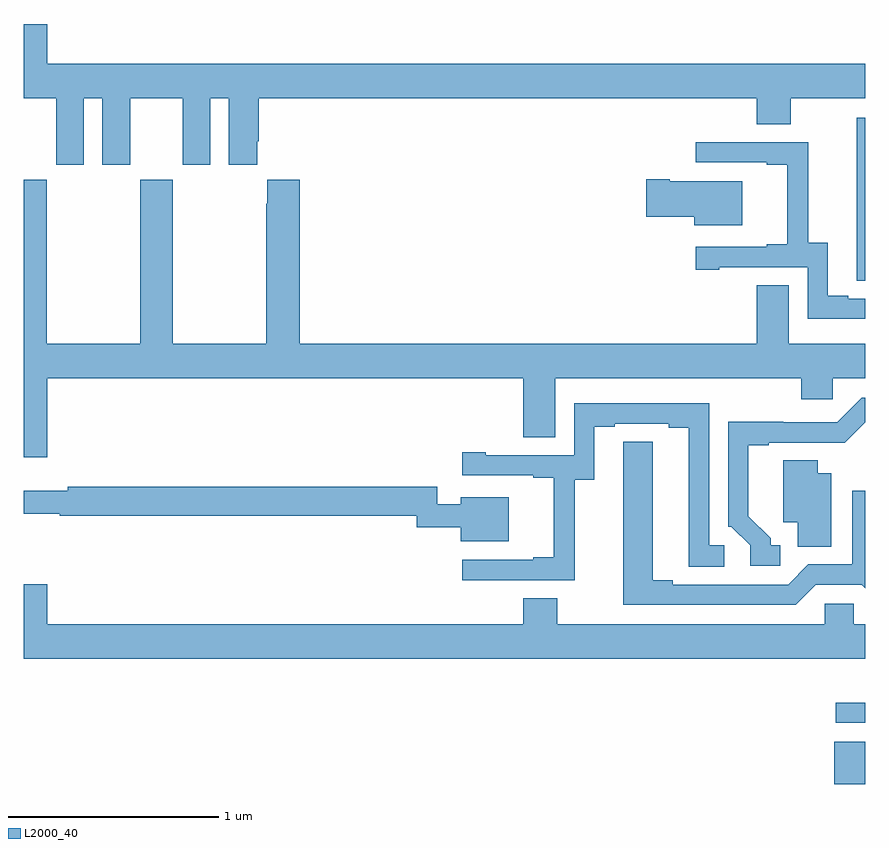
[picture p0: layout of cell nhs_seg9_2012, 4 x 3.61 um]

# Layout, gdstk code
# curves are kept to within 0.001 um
import gdstk
lib = gdstk.Library(unit=1e-6, precision=1e-09)
def R(c, l, rs):  # rectangles x0, y0, x1, y1
    for r in rs: c.add(gdstk.rectangle(r[:2], r[2:], *l))
def P(c, l, *ps):  # polygons
    for p in ps: c.add(gdstk.Polygon(p, *l))
L2000_40 = (2000, 40)

nhs_seg9_2012 = lib.new_cell('nhs_seg9_2012')
R(nhs_seg9_2012, L2000_40, [(228.854,1186.5,229,1186.702), (228.861,1186.791,229,1186.887)])
P(nhs_seg9_2012, L2000_40, [(225.286,1189.76),(225.374,1189.76),(225.374,1189.443),(225.505,1189.443),(225.505,1189.76),(225.755,1189.76),(225.755,1189.443),(225.886,1189.443),(225.886,1189.76),(225.974,1189.76),(225.974,1189.443),(226.111,1189.443),(226.111,1189.555),(226.118,1189.555),(226.118,1189.76),(228.485,1189.76),(228.485,1189.636),(228.645,1189.636),(228.645,1189.76),(229,1189.76),(229,1189.924),(225.112,1189.924),(225.112,1190.113),(225,1190.113),(225,1189.76),(225.155,1189.76),(225.155,1189.443),(225.286,1189.443)],
  [(229,1189.668),(228.959,1189.668),(228.959,1189),(228.96,1189),(228.96,1188.892),(229,1188.892)],
  [(229,1188.807),(228.919,1188.807),(228.919,1188.822),(228.823,1188.822),(228.823,1189.073),(228.729,1189.073),(228.729,1189.551),(228.195,1189.551),(228.195,1189.455),(228.533,1189.455),(228.533,1189.443),(228.629,1189.443),(228.629,1189.066),(228.533,1189.066),(228.533,1189.053),(228.195,1189.053),(228.195,1188.945),(228.307,1188.945),(228.307,1188.957),(228.726,1188.957),(228.726,1188.711),(229,1188.711)],
  [(228.415,1189.366),(228.07,1189.366),(228.07,1189.374),(227.958,1189.374),(227.958,1189.196),(228.188,1189.196),(228.188,1189.157),(228.415,1189.157)],
  [(225.112,1188.428),(227.375,1188.428),(227.375,1188.148),(227.527,1188.148),(227.527,1188.428),(228.695,1188.428),(228.695,1188.33),(228.846,1188.33),(228.846,1188.428),(229,1188.428),(229,1188.592),(228.637,1188.592),(228.637,1188.872),(228.485,1188.872),(228.485,1188.592),(226.313,1188.592),(226.313,1189.372),(226.157,1189.372),(226.157,1189.259),(226.153,1189.259),(226.153,1188.592),(225.708,1188.592),(225.708,1189.372),(225.553,1189.372),(225.553,1188.592),(225.108,1188.592),(225.108,1189.372),(225,1189.372),(225,1188.054),(225.112,1188.054)],
  [(228.595,1187.634),(228.55,1187.634),(228.55,1187.669),(228.445,1187.774),(228.445,1188.111),(228.541,1188.111),(228.541,1188.123),(228.902,1188.122),(229,1188.22),(229,1188.336),(228.984,1188.336),(228.867,1188.219),(228.611,1188.219),(228.611,1188.221),(228.348,1188.221),(228.348,1187.724),(228.363,1187.724),(228.453,1187.634),(228.453,1187.538),(228.595,1187.538)],
  [(227.619,1187.947),(227.713,1187.947),(227.713,1188.198),(227.809,1188.198),(227.809,1188.213),(228.065,1188.213),(228.065,1188.193),(228.161,1188.193),(228.161,1187.533),(228.331,1187.533),(228.331,1187.634),(228.258,1187.634),(228.258,1188.309),(227.616,1188.309),(227.616,1188.063),(227.197,1188.063),(227.197,1188.076),(227.085,1188.076),(227.085,1187.967),(227.423,1187.967),(227.423,1187.955),(227.519,1187.955),(227.519,1187.578),(227.423,1187.578),(227.423,1187.565),(227.085,1187.565),(227.085,1187.469),(227.619,1187.469)],
  [(228.765,1187.448),(228.983,1187.448),(229,1187.431),(229,1187.893),(228.939,1187.893),(228.939,1187.544),(228.729,1187.544),(228.633,1187.448),(228.085,1187.448),(228.085,1187.468),(227.989,1187.468),(227.989,1188.128),(227.85,1188.128),(227.849,1187.352),(228.669,1187.352)],
  [(228.838,1187.977),(228.775,1187.977),(228.775,1188.038),(228.611,1188.038),(228.611,1187.744),(228.68,1187.744),(228.68,1187.629),(228.838,1187.629)],
  [(227.305,1187.863),(227.078,1187.863),(227.078,1187.83),(226.965,1187.83),(226.965,1187.912),(225.208,1187.912),(225.208,1187.893),(225,1187.893),(225,1187.784),(225.172,1187.784),(225.172,1187.776),(226.869,1187.776),(226.869,1187.721),(227.078,1187.721),(227.078,1187.654),(227.305,1187.654)],
  [(229,1187.26),(228.945,1187.26),(228.945,1187.358),(228.807,1187.358),(228.807,1187.26),(227.535,1187.26),(227.535,1187.384),(227.375,1187.384),(227.375,1187.26),(225.112,1187.26),(225.112,1187.449),(225,1187.449),(225,1187.096),(229,1187.096)])

lib.write_gds('nhs_seg9_2012.gds')
